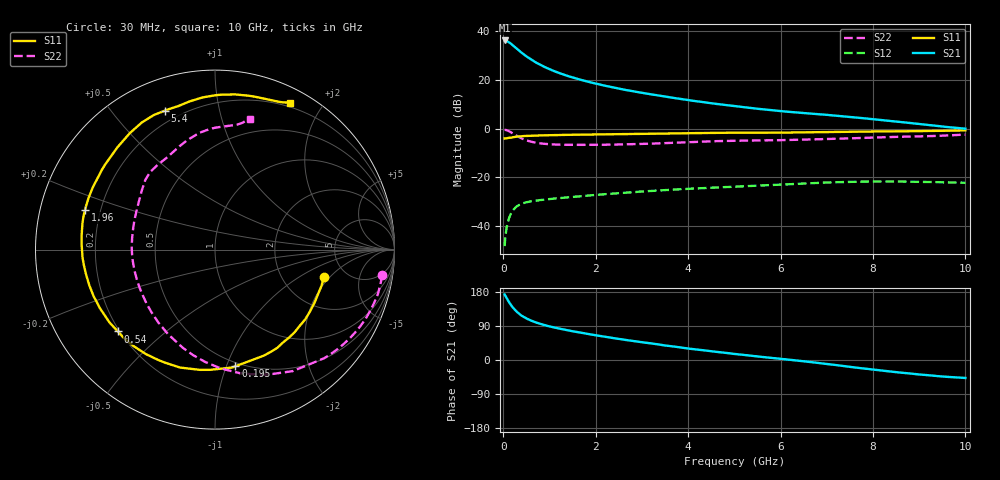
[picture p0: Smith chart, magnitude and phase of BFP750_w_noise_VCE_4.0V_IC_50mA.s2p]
! Infineon Technologies  Discrete & RF Semiconductors
! BFP750
! VCE =  4.0 V,  IC =  50 mA
! Common Emitter S-Parameters:  Jan 2016
# GHz  S  MA  R  50
!  f  S11  S21  S12  S22
! GHz  MAG  ANG  MAG  ANG  MAG  ANG  MAG  ANG
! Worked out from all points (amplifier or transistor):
!   229 points, 30 MHz to 10 GHz, reference 50 ohm
!   highest |S21| = 36.3 dB at 30 MHz (marker M1)
!   |S21| within 3 dB of that: start of sweep to 271.1 MHz
!   unconditionally stable (mu >= 1): 4.065 GHz to end of sweep
!   at 280 MHz: K = 0.19, MSG = 32.7 dB, |S12| = -32.3 dB
!   at 1.78 GHz: K = 0.70, MSG = 23.6 dB, |S12| = -27.7 dB
!   at 10 GHz: K = 1.05, MAG = 9.8 dB, |S12| = -22.3 dB
!   lowest NFmin = 1.04 dB at 450 MHz
!   S11 on the Smith chart (normalised r, x): 30 MHz: 3.41, -1.72; 195 MHz: 0.47, -1.08; 540 MHz: 0.19, -0.35; 1.96 GHz: 0.14, +0.15; 5.4 GHz: 0.14, +0.69; 10 GHz: 0.16, +1.62
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0.03  0.6255 -14.2  65.2 173.0  0.0038 71.4  0.9425 -8.8
0.06  0.6287 -28.4  64.44 166.2  0.0073 72.1  0.9353 -18.4
0.1  0.6394 -46.1  61.78 157.6  0.0118 66.5  0.9067 -30.8
0.15  0.6504 -65.3  57.54 148.0  0.0165 60.1  0.8577 -44.9
0.195  0.6601 -80.1  53.11 140.5  0.0198 54.2  0.8073 -56.1
0.24  0.6704 -92.3  48.92 134.1  0.0225 49.3  0.7595 -66.2
0.3  0.6854 -106.5  43.7 126.4  0.0253 44.3  0.7043 -78.3
0.36  0.6916 -117.3  39.06 120.5  0.0273 40.0  0.6554 -88.6
0.45  0.7035 -130.3  33.38 113.0  0.0295 35.4  0.6002 -101.8
0.54  0.708 -139.9  29.02 107.6  0.031 32.2  0.5589 -112.2
0.7  0.7194 -152.9  23.18 99.3  0.0329 28.5  0.5143 -127.9
0.9  0.7281 -164.2  18.45 91.9  0.0346 26.2  0.4854 -141.9
1.2  0.7393 -176.4  14.03 83.2  0.037 24.4  0.4677 -157.2
1.7  0.7529 169.1  9.972 71.6  0.0407 23.0  0.4626 -174.3
1.96  0.7573 163.0  8.618 66.1  0.0428 22.3  0.4639 178.7
2.6  0.7658 149.8  6.364 53.8  0.0476 20.4  0.473 163.8
3.4  0.7834 135.4  4.72 40.3  0.0537 16.8  0.4976 149.3
5.1  0.8231 113.3  2.833 14.8  0.0644 8.0  0.5644 128.6
5.4  0.8231 109.9  2.627 10.7  0.0663 6.2  0.5683 125.1
6.8  0.8445 96.7  1.984 -7.5  0.0761 -3.1  0.6026 110.4
8.4  0.8774 77.8  1.428 -30.7  0.0814 -18.0  0.6728 92.4
10  0.9184 63.0  0.995 -47.4  0.0767 -29.5  0.7537 75.2
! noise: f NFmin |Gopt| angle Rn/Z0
0.45  1.04  0.18  -167  0.47
0.9  1.06  0.23  -161  0.24
1.5  1.08  0.34  -155  0.09
1.9  1.09  0.36  -150  0.08
2.4  1.1  0.37  -143  0.09
3.5  1.33  0.38  -128  0.1
